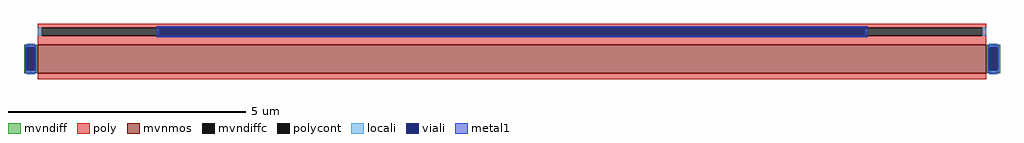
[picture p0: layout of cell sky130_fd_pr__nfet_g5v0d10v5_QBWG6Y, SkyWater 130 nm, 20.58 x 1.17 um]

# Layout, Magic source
magic
tech sky130A
magscale 1 2
<< mvnmos >>
rect -2000 -91 2000 29
<< mvndiff >>
rect -2058 17 -2000 29
rect -2058 -79 -2046 17
rect -2012 -79 -2000 17
rect -2058 -91 -2000 -79
rect 2000 17 2058 29
rect 2000 -79 2012 17
rect 2046 -79 2058 17
rect 2000 -91 2058 -79
<< mvndiffc >>
rect -2046 -79 -2012 17
rect 2012 -79 2046 17
<< poly >>
rect -2000 101 2000 117
rect -2000 67 -1984 101
rect 1984 67 2000 101
rect -2000 29 2000 67
rect -2000 -117 2000 -91
<< polycont >>
rect -1984 67 1984 101
<< locali >>
rect -2000 67 -1984 101
rect 1984 67 2000 101
rect -2046 17 -2012 33
rect -2046 -95 -2012 -79
rect 2012 17 2046 33
rect 2012 -95 2046 -79
<< viali >>
rect -1488 67 1488 101
rect -2046 -79 -2012 17
rect 2012 -79 2046 17
<< metal1 >>
rect -1500 101 1500 107
rect -1500 67 -1488 101
rect 1488 67 1500 101
rect -1500 61 1500 67
rect -2052 17 -2006 29
rect -2052 -79 -2046 17
rect -2012 -79 -2006 17
rect -2052 -91 -2006 -79
rect 2006 17 2052 29
rect 2006 -79 2012 17
rect 2046 -79 2052 17
rect 2006 -91 2052 -79
<< properties >>
string gencell sky130_fd_pr__nfet_g5v0d10v5
string library sky130
string parameters w 0.6 l 20 m 1 nf 1 diffcov 100 polycov 100 guard 0 glc 1 grc 1 gtc 1 gbc 1 tbcov 100 rlcov 100 topc 1 botc 0 poverlap 0 doverlap 1 lmin 0.15 wmin 0.42 compatible {sky130_fd_pr__nfet_01v8 sky130_fd_pr__nfet_01v8_lvt  sky130_fd_bs_flash__special_sonosfet_star  sky130_fd_pr__nfet_g5v0d10v5 sky130_fd_pr__nfet_05v0_nvt  sky130_fd_pr__nfet_03v3_nvt} full_metal 0 viasrc 100 viadrn 100 viagate 75 viagb 0 viagr 0 viagl 0 viagt 0
<< end >>
